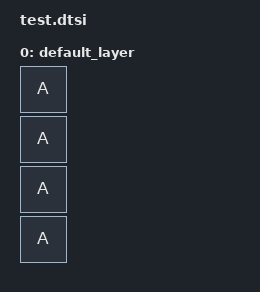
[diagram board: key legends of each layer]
#include <physical_layouts.dtsi>
#include <dt-bindings/zmk/matrix_transform.h>
/ {
	physical_layout: physical_layout {
		compatible = "zmk,physical-layout";
		display-name = "Custom Layout";
		keys
		= <&key_physical_attrs 100 100    0    0      0    0    0>
		, <&key_physical_attrs 100 100    0  100      0    0    0>
		, <&key_physical_attrs 100 100    0  200      0    0    0>
		, <&key_physical_attrs 100 100    0  300      0    0    0>
		;
		transform = <&transform0>;
	};
	transform0: transform0 {
		compatible = "zmk,matrix-transform";
		columns = <2>;
		rows = <2>;
		map = <
		RC(0,0)  RC(0,1)  RC(1,0)  RC(1, 1)
		>;
	};
};

#include <dt-bindings/zmk/keys.h>
#include <behaviors.dtsi>
#include <dt-bindings/zmk/kscan_mock.h>

/ {
	keymap {
		compatible = "zmk,keymap";
		
		default_layer {
			bindings = <
			&kp A
			&kp A
			&kp A
			&kp A
			>;
		};
	};
};

&kscan {
	events = <
	ZMK_MOCK_PRESS(0,0,10)
	ZMK_MOCK_RELEASE(0,0,10)
	ZMK_MOCK_PRESS(0,0,10)
	ZMK_MOCK_RELEASE(0,0,10)
	>;
};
